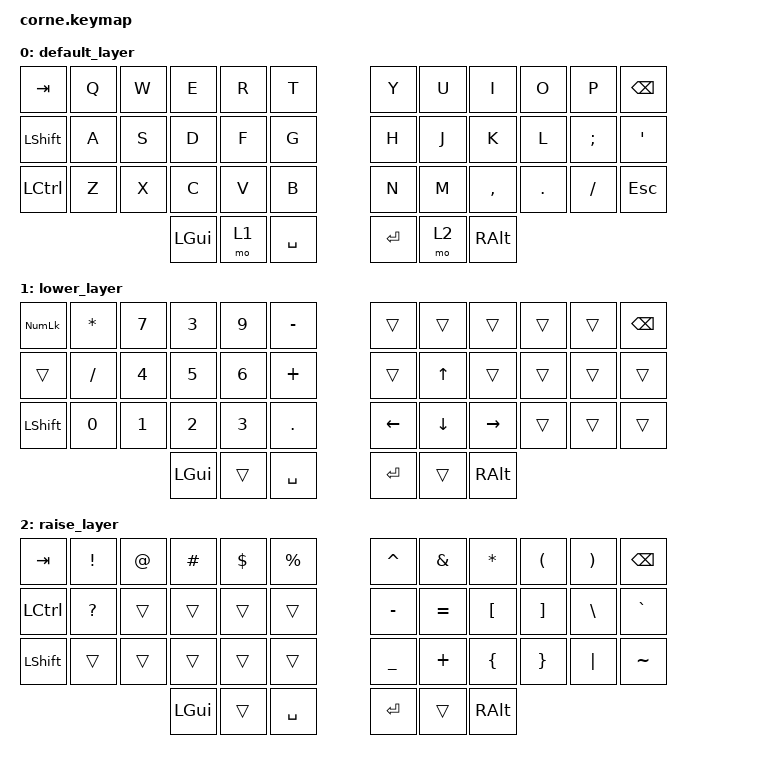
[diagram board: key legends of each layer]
/*
 * Copyright (c) 2020 The ZMK Contributors
 *
 * SPDX-License-Identifier: MIT
 */

#include <behaviors.dtsi>
#include <dt-bindings/zmk/keys.h>

/ {
    keymap {
        compatible = "zmk,keymap";

        default_layer {
            // -----------------------------------------------------------------------------------------
            // |  TAB |  Q  |  W  |  E  |  R  |  T  |   |  Y  |  U   |  I  |  O  |  P  | BSPC |
            // | CTRL |  A  |  S  |  D  |  F  |  G  |   |  H  |  J   |  K  |  L  |  ;  |  '   |
            // | SHFT |  Z  |  X  |  C  |  V  |  B  |   |  N  |  M   |  ,  |  .  |  /  | ESC  |
            //                    | GUI | LWR | SPC |   | ENT | RSE  | ALT |

            bindings = <
&kp TAB           &kp Q  &kp W  &kp E     &kp R  &kp T        &kp Y    &kp U  &kp I      &kp O    &kp P     &kp BSPC
&kp LEFT_SHIFT    &kp A  &kp S  &kp D     &kp F  &kp G        &kp H    &kp J  &kp K      &kp L    &kp SEMI  &kp SQT
&kp LEFT_CONTROL  &kp Z  &kp X  &kp C     &kp V  &kp B        &kp N    &kp M  &kp COMMA  &kp DOT  &kp FSLH  &kp ESC
                                &kp LGUI  &mo 1  &kp SPACE    &kp RET  &mo 2  &kp RALT
            >;
        };

        lower_layer {
            // -----------------------------------------------------------------------------------------
            // |  TAB |  1  |  2  |  3  |  4  |  5  |   |  6  |  7  |  8  |  9  |  0  | BSPC |
            // | BTCLR| BT1 | BT2 | BT3 | BT4 | BT5 |   | LFT | DWN |  UP | RGT |     |      |
            // | SHFT |     |     |     |     |     |   |     |     |     |     |     |      |
            //                    | GUI |     | SPC |   | ENT |     | ALT |

            bindings = <
&kp KP_NLCK  &kp ASTRK     &kp NUMBER_7  &kp N3        &kp NUMBER_9  &kp MINUS     &trans    &trans          &trans           &trans  &trans  &kp BSPC
&trans       &kp SLASH     &kp NUMBER_4  &kp NUMBER_5  &kp NUMBER_6  &kp PLUS      &trans    &kp UP_ARROW    &trans           &trans  &trans  &trans
&kp LSHFT    &kp NUMBER_0  &kp NUMBER_1  &kp NUMBER_2  &kp NUMBER_3  &kp PERIOD    &kp LEFT  &kp DOWN_ARROW  &kp RIGHT_ARROW  &trans  &trans  &trans
                                         &kp LGUI      &trans        &kp SPACE     &kp RET   &trans          &kp RALT
            >;
        };

        raise_layer {
            // -----------------------------------------------------------------------------------------
            // |  TAB |  !  |  @  |  #  |  $  |  %  |   |  ^  |  &  |  *  |  (  |  )  | BSPC |
            // | CTRL |     |     |     |     |     |   |  -  |  =  |  [  |  ]  |  \  |  `   |
            // | SHFT |     |     |     |     |     |   |  _  |  +  |  {  |  }  | "|" |  ~   |
            //                    | GUI |     | SPC |   | ENT |     | ALT |

            bindings = <
&kp TAB    &kp EXCL      &kp AT  &kp HASH  &kp DLLR  &kp PRCNT    &kp CARET  &kp AMPS   &kp ASTRK  &kp LPAR  &kp RPAR  &kp BSPC
&kp LCTRL  &kp QUESTION  &trans  &trans    &trans    &trans       &kp MINUS  &kp EQUAL  &kp LBKT   &kp RBKT  &kp BSLH  &kp GRAVE
&kp LSHFT  &trans        &trans  &trans    &trans    &trans       &kp UNDER  &kp PLUS   &kp LBRC   &kp RBRC  &kp PIPE  &kp TILDE
                                 &kp LGUI  &trans    &kp SPACE    &kp RET    &trans     &kp RALT
            >;
        };
    };
};
